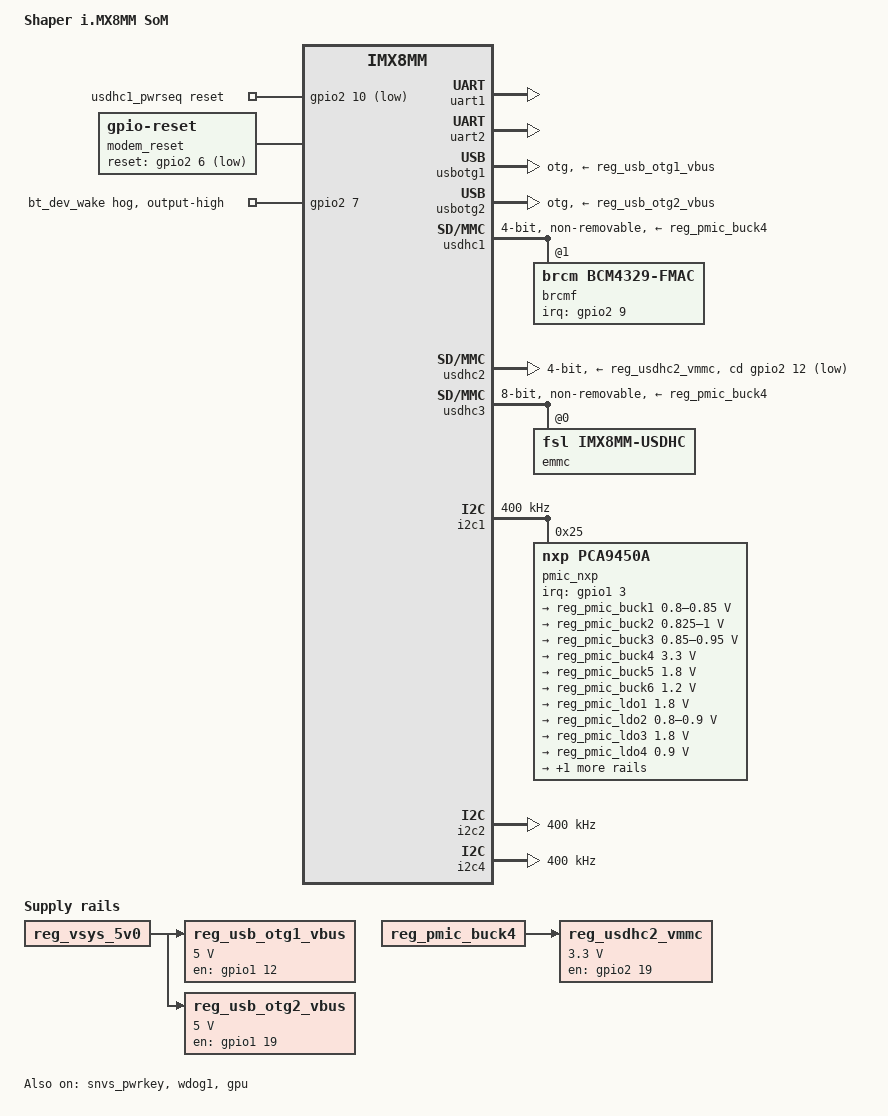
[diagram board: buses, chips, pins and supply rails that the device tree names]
// SPDX-License-Identifier: (GPL-2.0+ OR MIT)
/*
 * Copyright 2022 Shaper Tools, Inc.
 * - Jeremy Blum <jeremy@shapertools.com>
 * - Donald Carr <donald@shapertools.com>
 * - Stephen Street <stephen@shapertools.com>
 * Copyright 2019 NXP
 */

/dts-v1/;

#include <dt-bindings/usb/pd.h>
#include "imx8mm.dtsi"

/ {
	model = "Shaper i.MX8MM SoM";
	compatible = "fsl,imx8mm", "shaper,imx8mm-som";

	reserved-memory {
		#address-cells = <2>;
		#size-cells = <2>;
		ranges;

		m4_reserved: m4@0x4efe0000 {
			no-map;
			reg = <0 0x4efe0000 0 0x300000>;
		};

		vdev0vring0: vdev0vring0@b8000000 {
			compatible = "shared-dma-pool";
			reg = <0 0xb8000000 0 0x8000>;
			no-map;
		};

		vdev0vring1: vdev0vring1@b8008000 {
			compatible = "shared-dma-pool";
			reg = <0 0xb8008000 0 0x8000>;
			no-map;
		};

		vdev0buffer: vdev0buffer@b8400000 {
			compatible = "shared-dma-pool";
			reg = <0 0xb8400000 0 0x100000>;
			no-map;
		};

		m4_spaces: m4_spaces@b8500000 {
			compatible = "shared-dma-pool";
			reg = < 0 0xb8500000 0 0x40000 >;
			no-map;
		};
	};

	chosen {
		stdout-path = &uart2;
	};

	shaper_m4_rproc: shaper-m4-rproc {
		compatible = "shapertools,shaper-mcu-rproc";
		rsrc-table = <
			0x1         /* Version */
			0x1         /* Number of resources */
			0x0 0x0     /* Reserved */
			0x14        /* offset to resources */
			3           /* Resource Type VDEV*/

			/* fw_rsc_vdev */
			7           /* Virtualio id */
			0           /* Notify Id */
			1           /* dfeatures NS Support */
			0           /* gfeatures */
			0           /* config_len */
			0x0200      /* u8, status, number of vrings, reserved[2] */

			/* fw_rsc_vdev_vring 0 */
			0xb8000000U /* da */
			4096        /* align */
			256         /* num */
			0           /* notifyid */
			0           /* reserved */

			/* fw_rsc_vdev_vring 1 */
			0xb8008000U /* da */
			4096        /* align */
			256         /* num */
			1           /* notifyid */
			0           /* reserved */
		>;
		clocks = <&clk IMX8MM_CLK_M4_DIV>, <&clk IMX8MM_CLK_SEMA1_ROOT>;
		clock-names = "m4_div", "sema1";
		mbox-names = "tx", "rx", "txdb", "rxdb";
		mboxes = <&mu 0 1 &mu 1 1 &mu 2 1 &mu 3 1>;
		memory-region = <&vdev0vring0>, <&vdev0vring1>, <&vdev0buffer>;
		firmware-name = "mcu-firmware.elf";
		syscon = <&src>;
	};

	shaper-m4-spaces {
		compatible = "shapertools,shaper-mcu-space";
		mbox-names = "tx", "rx", "txdb", "rxdb";
		mboxes = <&mu 0 2 &mu 1 2 &mu 2 2 &mu 3 2>;
		space-memory = <&m4_spaces>;
		rproc = <&shaper_m4_rproc>;
	};

	shaper-m4-log {
		compatible = "shapertools,shaper-mcu-log";
	};

	shaper-m4-capture {
		compatible = "shapertools,shaper-rpmsg-mcu-capture";
	};
	
	/* USB OTG supply is derived from the 5V input rail */
	reg_usb_otg1_vbus: regulator-usb-otg1 {
		regulator-name = "VSYS_5V0-USB1-VBUS";
		compatible = "regulator-fixed";
		pinctrl-names = "default";
		enable-active-high;
		pinctrl-0 = <&pinctrl_reg_usb1_en>;
		gpio = <&gpio1 12 GPIO_ACTIVE_HIGH>;  /* Blade 1 USB1_OTG_PWR */
		regulator-max-microvolt = <5000000>;
		regulator-min-microvolt = <5000000>;
		vin-supply = <&reg_vsys_5v0>;
	};

	/* USB OTG supply is derived from the 5V input rail */
	reg_usb_otg2_vbus: regulator-usb-otg2 {
		regulator-name = "VSYS_5V0-USB2_VBUS";
		compatible = "regulator-fixed";
		pinctrl-names = "default";
		enable-active-high;
		pinctrl-0 = <&pinctrl_reg_usb2_en>;
		gpio = <&gpio1 19 GPIO_ACTIVE_HIGH>;  /* Blade 1 GPIO1_IO19 */
		regulator-max-microvolt = <5000000>;
		regulator-min-microvolt = <5000000>;
		vin-supply = <&reg_vsys_5v0>;
	};

	/* SD Card supply is regulated from System 3.3V Rail */
	reg_usdhc2_vmmc: regulator-usdhc2 {
		regulator-name = "VDD_3V3-SD"; 
		compatible = "regulator-fixed";
		pinctrl-names = "default";
		enable-active-high;
		pinctrl-0 = <&pinctrl_reg_usdhc2_vmmc>;
		gpio = <&gpio2 19 GPIO_ACTIVE_HIGH>;  /* Blade 1 nSDHC2_RST */
		regulator-min-microvolt = <3300000>;
		regulator-max-microvolt = <3300000>;
		off-on-delay-us = <20000>;
		vin-supply = <&reg_pmic_buck4>;
	};

	/* add construct for "fmac" to control WL_REG_ON signal */
	usdhc1_pwrseq: usdhc1_pwrseq {
		compatible = "mmc-pwrseq-simple";
		reset-gpios = <&gpio2 10 GPIO_ACTIVE_LOW>;  /* Blade 1 WL_REG_ON */
		pinctrl-names = "default";
		pinctrl-0 = <&pinctrl_wlan_reg_on>;
		status = "okay";
	};

	/* Keep BT_REG_ON under kernel reset control for the userspace hciattach flow. */
	modem_reset: modem-reset {
		compatible = "gpio-reset";
		reset-gpios = <&gpio2 6 GPIO_ACTIVE_LOW>; /* Blade 1 BT_REG_ON */
		initially-in-reset;
		reset-delay-us = <2000>;
		reset-post-delay-ms = <100>;
		#reset-cells = <0>;
	};

};

&A53_0 {
	cpu-supply = <&reg_pmic_buck2>;
};

&A53_1 {
	cpu-supply = <&reg_pmic_buck2>;
};

&A53_2 {
	cpu-supply = <&reg_pmic_buck2>;
};

&A53_3 {
	cpu-supply = <&reg_pmic_buck2>;
};

&fec1 {
	status = "disabled";
};

&pcie0{
	status = "disabled";
};

&sai3 {
	status = "disabled";
};

&sai2 {
	status = "disabled";
};

&sai1 {
	status = "disabled";
};

&sai5 {
	status = "disabled";
};

&sai6 {
	status = "disabled";
};

&spdif1 {
	status = "disabled";
};

&micfil {
	status = "disabled";
};

&snvs_pwrkey {
	status = "okay";
};

&uart1 { /* BT */
	pinctrl-names = "default";
	pinctrl-0 = <&pinctrl_uart1>, <&pinctrl_bt_gpios>;
	assigned-clocks = <&clk IMX8MM_CLK_UART1>;
	assigned-clock-parents = <&clk IMX8MM_SYS_PLL1_80M>;
	fsl,uart-has-rtscts;
	resets = <&modem_reset>;
	status = "okay";
};

&uart2 { /* console */
	pinctrl-names = "default";
	pinctrl-0 = <&pinctrl_uart2>;
	status = "okay";
};

&usbotg1 {
	pinctrl-names = "default";
	pinctrl-0 = <&pinctrl_usbotg1>;
	over-current-active-low;
	vbus-supply = <&reg_usb_otg1_vbus>;
	dr_mode = "otg";
	hnp-disable;
	srp-disable;
	adp-disable;
	picophy,pre-emp-curr-control = <3>;
	picophy,dc-vol-level-adjust = <7>;
	status = "okay";
};

&usbotg2 {
	disable-over-current;  /* Not using OC detection right now as its connected to a GPIO instead of hardware OC pin */
	over-current-active-low;  /* We set the polarity anyways to eliminate the kernel warning */
	vbus-supply = <&reg_usb_otg2_vbus>;
	dr_mode = "otg";  /* Note that resistor ties ID pin to GND on the Davis MLB, so we are actually always in host mode for USB2 */
	hnp-disable;
	srp-disable;
	adp-disable;
	picophy,pre-emp-curr-control = <3>;
	picophy,dc-vol-level-adjust = <7>;
	status = "okay";
};

/* Wi-Fi & Bluetooth Module on Blade 1 SOM */
&usdhc1 {
	#address-cells = <1>;
	#size-cells = <0>;
	pinctrl-names = "default", "state_100mhz", "state_200mhz";
	pinctrl-0 = <&pinctrl_usdhc1>, <&pinctrl_wlan>;
	pinctrl-1 = <&pinctrl_usdhc1_100mhz>, <&pinctrl_wlan>;
	pinctrl-2 = <&pinctrl_usdhc1_200mhz>, <&pinctrl_wlan>;
	bus-width = <4>;

	vmmc-supply = <&reg_pmic_buck4>;  /* This is the power supply for the Wireless Module:  BUCK4 (VDD_3V3) */
	vqmmc-supply = <&reg_pmic_buck5>;  /* This is the IO supply for the SDHC1 interface, which is in the NVCC_SD1 power domain. This domain is powered by BUCK5 (VDD_1V8) from the PMIC */
	voltage-ranges = <1800 1800>;  /* The IO supply operates at 1.8V */

	cap-power-off-card;
	non-removable;
	pm-ignore-notify;
	keep-power-in-suspend;

	mmc-pwrseq = <&usdhc1_pwrseq>;
	status = "okay";

	brcmf: bcrmf@1 {
		reg = <1>;
		compatible = "brcm,bcm4329-fmac";
		interrupt-parent = <&gpio2>;
		/* When using a direct connection (as we are) this WAKE is LEVEL_HIGH */
		/* https://community.murata.com/s/question/0D55F00009ZGrucSAD/oob-interrupts-on-1mw */
		interrupts = <9 IRQ_TYPE_LEVEL_HIGH>; /* WL_HOST_WAKE */
		interrupt-names = "host-wake";
	};
};

/* SDHC Card Socket on Carrier Board */
&usdhc2 {
	pinctrl-names = "default", "state_100mhz", "state_200mhz";
	pinctrl-0 = <&pinctrl_usdhc2>, <&pinctrl_usdhc2_gpio>;
	pinctrl-1 = <&pinctrl_usdhc2_100mhz>, <&pinctrl_usdhc2_gpio>;
	pinctrl-2 = <&pinctrl_usdhc2_200mhz>, <&pinctrl_usdhc2_gpio>;
	bus-width = <4>;

	vmmc-supply = <&reg_usdhc2_vmmc>;  /* Dedicated regulator is specified for carrier board SD card, because a load switch controlled by SD reset shall be used to toggle power to the SD Card */
	vqmmc-supply = <&reg_pmic_ldo5>;  /* This is the IO supply for the SDHC2 interface, which is in the NVCC_SD2 power domain. This domain is powered by LDO5 (NVCC_SD2) from the PMIC */
	voltage-ranges = <1800 1800 3300 3300>;  /* The IO supply can switch between 1.8V and 3.3V depending on the operating speed of the card */

	status = "okay";
	cd-gpios = <&gpio2 12 GPIO_ACTIVE_LOW>;
	disable-wp;
};

/* eMMC on Blade 1 SOM */
&usdhc3 {
	pinctrl-names = "default", "state_100mhz", "state_200mhz";
	pinctrl-0 = <&pinctrl_usdhc3>;
	pinctrl-1 = <&pinctrl_usdhc3_100mhz>;
	pinctrl-2 = <&pinctrl_usdhc3_200mhz>;
	bus-width = <8>;

	vmmc-supply = <&reg_pmic_buck4>;  /* This is the power supply for the eMMC:  BUCK4 (VDD_3V3) */
	vqmmc-supply = <&reg_pmic_buck5>;  /* This is the IO supply for the SDHC3 interface, which is in the NVCC_NAND power domain. This domain is powered by BUCK5 (VDD_1V8) from the PMIC */
	voltage-ranges = <1800 1800>;  /* The IO supply operates at 1.8V */

	non-removable;
	status = "okay";

	emmc: emmc@0 {
		compatible = "fsl,imx8mm-usdhc";
	};
};

&wdog1 {
	pinctrl-names = "default";
	pinctrl-0 = <&pinctrl_wdog>;
	fsl,ext-reset-output;
	status = "okay";
};

&i2c1 {
	clock-frequency = <400000>;
	pinctrl-names = "default";
	pinctrl-0 = <&pinctrl_i2c1>;
	status = "okay";

	eeprom: eeprom@50 {
		compatible = "atmel,24c64"; /* 24AA64 */
		reg = <0x50>;
		pagesize = <32>;
		status = "disabled"; /* We do not populate the EEPROM on the Blade 1 SOM */
	};

	pmic_nxp: pca9450@25 {
		compatible = "nxp,pca9450a";
		reg = <0x25>;
		pinctrl-0 = <&pinctrl_pmic>;
		pinctrl-names = "default";
		interrupt-parent = <&gpio1>;
		interrupts = <3 IRQ_TYPE_LEVEL_LOW>;

		regulators {

			/* PMIC BUCK1 (VDD_SOCx, VDD_ARM_PLL_0P8, VDD_ANA_0P8x)
			 * PMIC BUCK1 Supports DVS, +/-2% Accurate, 12.5mV Steps
			 * PMIC BUCK1 is set to 0.850V by SPL
			 * PMIC BUCK1 min output voltage is 0.600V
			 * PMIC BUCK1 max output voltage is 2.1875V
			 * PMIC BUCK1 powers the following rails on the SoC:
			 *   -> VDD_SOCx without PCIE (0.780V-0.900V) -> Typ=0.820V -> Op=0.800V
			 *   -  VDD_SOCx with PCIE    (0.805V-0.900V) -> Typ=0.850V
			 *   -> VDD_ARM_PLL_0P8       (0.780V-0.900V) -> Typ=0.820V -> Op=0.800V
			 *   -> VDD_ANA_0P8x          (0.780V-0.900V) -> Typ=0.820V -> Op=0.800V
			 * For minimum heat, we set to 800mV (784mV min with 2% accuracy)
			 */
			reg_pmic_buck1: BUCK1 {
				regulator-name = "BUCK1";
				nxp,dvs-run-voltage = <800000>;
				nxp,dvs-standby-voltage = <800000>;
				regulator-max-microvolt = <850000>;
				regulator-min-microvolt = <800000>;
				regulator-boot-on;
				regulator-always-on;
				regulator-ramp-delay = <3125>;
			};

			/* PMIC BUCK2 (VDD_ARMx)
			 * PMIC BUCK2 Supports DVS, +/-2% Accurate, 12.5mV Steps
			 * PMIC BUCK2 is set to 1.000V by SPL
			 * PMIC BUCK2 min output voltage is 0.600V
			 * PMIC BUCK2 max output voltage is 2.1875V
			 * PMIC BUCK2 powers the following rails on the SoC:
			 *   -> VDD_ARMx 1.0GHz (0.805V-0.950V) -> Typ=0.850V -> Op=0.825V  (Datasheet Spec)
			 *   -> VDD_ARMx 1.2GHz (0.805V-0.950V) -> Typ=0.850V -> Op=0.825V  (Datasheet Spec)
			 *   -> VDD_ARMx 1.4GHz (0.850V-0.950V) -> Typ=0.900V -> Op=0.875V  (Interpolated Value Validated by Shaper and NXP FAE)
			 *   -> VDD_ARMx 1.5GHz (0.850V-0.950V) -> Typ=0.900V -> Op=0.875V  (Interpolated Value Validated by Shaper and NXP FAE)
			 *   -> VDD_ARMx 1.6GHz (0.900V-1.000V) -> Typ=0.950V -> Op=0.925V  (Datasheet Spec)
			 *   -> VDD_ARMx 1.8GHz (0.950V-1.050V) -> Typ=1.000V -> Op=0.975V  (Datasheet Spec)
			 * For minimum heat, we set to 825mV/875mV/925mV/975mV (808.5mV/857.5mV/906.5mV/955.5mV min with 2% accuracy)
			 */
			reg_pmic_buck2: BUCK2 {
				regulator-name = "BUCK2";
				nxp,dvs-run-voltage = <975000>;
				nxp,dvs-standby-voltage = <825000>;
				regulator-max-microvolt = <1000000>;
				regulator-min-microvolt = <825000>;
				regulator-boot-on;
				regulator-always-on;
				regulator-ramp-delay = <3125>;
			};

			/* PMIC BUCK3 (VDD_VPUx, VDD_GPUx, VDD_DRAM, VDD_DRAMx_PLL_0P8)
			 * PMIC BUCK3 Supports DVS, +/-2% Accurate, 12.5mV Steps
			 * PMIC BUCK3 is set to 0.950V by SPL
			 * PMIC BUCK3 min output voltage is 0.600V
			 * PMIC BUCK3 max output voltage is 2.1875V
			 * PMIC BUCK3 powers the following rails on the SoC:
			 *   -  VDD_VPUx 450/450/450MHz         (0.805V-0.900V) -> Typ=0.850V
			 *   -> VDD_VPUx 600/650/650MHz         (0.855V-0.950V) -> Typ=0.900V -> Op=0.875V
			 *   -  VDD_VPUx 700/750/750MHz         (0.900V-1.000V) -> Typ=0.950V
			 *   -  VDD_GPUx Nominal Mode/800MHz    (0.805V-0.900V) -> Typ=0.850V
			 *   -> VDD_GPUx Overdrive Mode/1000MHz (0.855V-1.000V) -> Typ=0.900V -> Op=0.875V
			 *   -  VDD_DRAM Up to 1.0GHZ DDR Clock (0.805V-0.900V) -> Typ=0.850V
			 *   -> VDD_DRAM Up to 1.2GHZ DDR Clock (0.855V-0.950V) -> Typ=0.900V -> Op=0.875V
			 *   -  VDD_DRAM Up to 1.5GHZ DDR Clock (0.900V-1.000V) -> Typ=0.950V
			 *   -> VDD_DRAMx_PLL_0P8               (0.805V-1.000V) -> Typ=0.850V -> Op=0.875V
			 * NOTE: Explicitly setting the DVS values appears to be necessary.
			 *       Otherwise the BUCK resets to 0.850V at Kernel init
			 * For minimum heat, we set to 875mV (857.5mV min with 2% accuracy)
			 */
			reg_pmic_buck3: BUCK3 {
				regulator-name = "BUCK3";
				nxp,dvs-run-voltage = <875000>;
				nxp,dvs-standby-voltage = <875000>;
				regulator-max-microvolt = <950000>;
				regulator-min-microvolt = <850000>;
				regulator-boot-on;
				regulator-always-on;
				regulator-ramp-delay = <3125>;
			};

			/* PMIC BUCK4 (VDD_3V3)
			 * PMIC BUCK4 is +/-2% Accurate, 25mV Steps
			 * PMIC BUCK4 is defaulted to 3.300V at reset
			 * PMIC BUCK4 min output voltage is 0.600V
			 * PMIC BUCK4 max output voltage is 3.400V
			 * PMIC BUCK4 powers the following rails on the SoC:
			 *   -> NVCC_SAI1  (3.000V-3.6000V) -> Typ=3.300V
			 *   -> NVCC_SAI2  (3.000V-3.6000V) -> Typ=3.300V
			 *   -> NVCC_SAI3  (3.000V-3.6000V) -> Typ=3.300V
			 *   -> NVCC_SAI5  (3.000V-3.6000V) -> Typ=3.300V
			 *   -> NVCC_GPIO1 (3.000V-3.6000V) -> Typ=3.300V
			 *   -> NVCC_I2C   (3.000V-3.6000V) -> Typ=3.300V
			 *   -> NVCC_UART  (3.000V-3.6000V) -> Typ=3.300V
			 *   -> NVCC_ECSPI (3.000V-3.6000V) -> Typ=3.300V
			 *   -> NVCC_ENET  (3.000V-3.6000V) -> Typ=3.300V
			 * PMIC BUCK4 also powers:
			 *   -> eMMC
			 *   -> Wi-Fi
			 *   -> Carrier Board 3.3V Rail
			 */
			reg_pmic_buck4: BUCK4 {
				regulator-name = "BUCK4";
				regulator-min-microvolt = <3300000>;
				regulator-max-microvolt = <3300000>;
				regulator-boot-on;
				regulator-always-on;
			};

			/* PMIC BUCK5 (VDD_1V8)
			 * PMIC BUCK5 is +/-2% Accurate, 25mV Steps
			 * PMIC BUCK5 is defaulted to 1.800V at reset
			 * PMIC BUCK5 min output voltage is 0.600V
			 * PMIC BUCK5 max output voltage is 3.400V
			 * PMIC BUCK5 powers the following rails on the SoC:
			 *   -> NVCC_JTAG (1.650V-1.950V) -> Typ=1.800V
			 *   -> NVCC_NAND (1.650V-1.950V) -> Typ=1.800V
			 *   -> NVCC_SD1  (1.650V-1.950V) -> Typ=1.800V
			 *   -> NVCC_CLK  (1.650V-1.950V) -> Typ=1.800V
			 *   -> PVCCx_1P8 (1.650V-1.950V) -> Typ=1.800V
			 * PMIC BUCK5 also powers:
			 *   -> eMMC
			 *   -> Carrier Board 1.8V Rail
			 */
			reg_pmic_buck5: BUCK5 {
				regulator-name = "BUCK5";
				regulator-min-microvolt = <1800000>;
				regulator-max-microvolt = <1800000>;
				regulator-boot-on;
				regulator-always-on;
			};

			/* PMIC BUCK6 (NVCC_DRAM)
			 * PMIC BUCK4 is +/-2% Accurate, 25mV Steps
			 * PMIC BUCK6 is defaulted to 1.100V at reset
			 * PMIC BUCK6 is then set to 1.200V by SPL, as that is the required voltage for DDR4 (vs. LPDDR4)
			 * PMIC BUCK6 min output voltage is 0.600V
			 * PMIC BUCK6 max output voltage is 3.400V
			 * PMIC BUCK6 powers the following rails on the SoC:
			 *   -> NVCC_DRAM - DDR4 (1.14V-1.26V) -> Typ=1.200V
			 * PMIC BUCK6 also powers:
			 *   -> DDR4 memory chips
			 */
			reg_pmic_buck6: BUCK6 {
				regulator-name = "BUCK6";
				regulator-min-microvolt = <1200000>;
				regulator-max-microvolt = <1200000>;
				regulator-boot-on;
				regulator-always-on;
			};

			/* PMIC LDO1 (NVCC_SNVS_1P8)
			 * PMIC LDO1 is defaulted to 1.800V at reset
			 * PMIC LDO1 min output voltage is 1.600V
			 * PMIC LDO1 max output voltage is 3.300V
			 * PMIC LDO1 powers the following rails on the SoC:
			 *   -> NVCC_SNVS_1P8 (1.620V-1.980V) -> Typ=1.800V
			 */
			reg_pmic_ldo1: LDO1 {
				regulator-name = "LDO1";
				regulator-min-microvolt = <1800000>;
				regulator-max-microvolt = <1800000>;
				regulator-boot-on;
				regulator-always-on;
			};

			/* PMIC LDO2 (VDD_SNVS_0P8)
			 * PMIC LDO2 is defaulted to 0.850V at reset
			 * PMIC LDO2 min output voltage is 0.800V
			 * PMIC LDO2 max output voltage is 1.150V
			 * PMIC LDO2 powers the following rails on the SoC:
			 *   -> VDD_SNVS_0P8 (0.760V-0.900V) -> Typ=0.800V
			 */
			reg_pmic_ldo2: LDO2 {
				regulator-name = "LDO2";
				regulator-min-microvolt = <800000>;
				regulator-max-microvolt = <900000>;
				regulator-boot-on;
				regulator-always-on;
			};

			/* PMIC LDO3 (VDD_ANA_1P8)
			 * PMIC LDO3 is defaulted to 1.800V at reset
			 * PMIC LDO3 min output voltage is 0.800V
			 * PMIC LDO3 max output voltage is 3.300V
			 * PMIC LDO3 powers the following rails on the SoC:
			 *   -> VDD_DRAM_PLL_1P8 (1.710V-1.890V) -> Typ=1.800V
			 *   -> VDD_ARM_PLL_1P8  (1.710V-1.890V) -> Typ=1.800V
			 *   -> VDD_ANAx_1P8     (1.710V-1.890V) -> Typ=1.800V
			 *   -> VDD_USB_1P8      (1.710V-1.890V) -> Typ=1.800V
			 *   -> VDD_MIPI_1P8     (1.710V-1.890V) -> Typ=1.800V
			 */
			reg_pmic_ldo3: LDO3 {
				regulator-name = "LDO3";
				regulator-min-microvolt = <1800000>;
				regulator-max-microvolt = <1800000>;
				regulator-boot-on;
				regulator-always-on;
			};

			/* PMIC LDO4 (VDD_MIPI_0P9)
			 * PMIC LDO4 is defaulted to 0.900V at reset
			 * PMIC LDO4 min output voltage is 0.800V
			 * PMIC LDO4 max output voltage is 3.300V
			 * PMIC LDO4 powers the following rails on the SoC:
			 *   -> VDD_MIPI_0P9 (0.855-1.000V) -> Typ=0.900V
			 */
			reg_pmic_ldo4: LDO4 {
				regulator-name = "LDO4";
				regulator-min-microvolt = <900000>;
				regulator-max-microvolt = <900000>;
				regulator-boot-on;
				regulator-always-on;
			};

			/* PMIC LDO5 (NVCC_SD2)
			 * PMIC LDO5 is defaulted to 3.300V at reset
			 * PMIC LDO5 can switch between 1.8V and 3.3V depending on SD card mode
			 * PMIC LDO5 turns off automatically when no SD card is in use
			 * PMIC LDO5 min output voltage is 1.800V
			 * PMIC LDO5 max output voltage is 3.300V
			 * PMIC LDO5 powers the following rails on the SoC:
			 *   -> NVCC_SD2 (1.650-1.950V) -> Typ=1.800V (1.8V Operating Mode)
			 *   -> NVCC_SD2 (3.000-3.600V) -> Typ=3.300V (3.3V Operating Mode)
			 */
			reg_pmic_ldo5: LDO5 {
				regulator-name = "LDO5";
				regulator-min-microvolt = <1800000>;
				regulator-max-microvolt = <3300000>;
			};
		};
	};
};

&i2c2 {
	clock-frequency = <400000>;
	pinctrl-names = "default";
	pinctrl-0 = <&pinctrl_i2c2>;
	status = "okay";
};

&i2c4 {
	clock-frequency = <400000>;
	pinctrl-names = "default";
	pinctrl-0 = <&pinctrl_i2c4>;
	status = "okay";
};

&gpio1 {
	gpio-line-names = "MCU_CLKOUT_32K",		/* 00 */
			  "SODIMM_258",			/* 01 */
			  "nWDOG_RST",			/* 02 */
			  "nPIC_INT",			/* 03 */
			  "SDHC2_VSEL",			/* 04 */
			  "SODIMM_187",			/* 05 */
			  "SODIMM_177",			/* 06 */
			  "SODIMM_189",			/* 07 */
			  "SODIMM_136",			/* 08 */
			  "SODIMM_42",			/* 09 */
			  "SODIMM_40",			/* 10 */
			  "SODIMM_53",			/* 11 */
			  "SODIMM_204",			/* 12 */
			  "SODIMM_206",			/* 13 */
			  "SODIMM_63",			/* 14 */
			  "SODIMM_111",			/* 15 */
			  "SODIMM_209",			/* 16 */
			  "SODIMM_207",			/* 17 */
			  "SODIMM_106",			/* 18 */
			  "SODIMM_104",			/* 19 */
			  "SODIMM_216",			/* 20 */
			  "SODIMM_218",			/* 21 */
			  "SODIMM_39",			/* 22 */
			  "SODIMM_201",			/* 23 */
			  "SODIMM_44",			/* 24 */
			  "SODIMM_80",			/* 25 */
			  "SODIMM_78",			/* 26 */
			  "SODIMM_37",			/* 27 */
			  "SODIMM_160",			/* 28 */
			  "SODIMM_203",			/* 29 */
			  "DNE",			/* 30 */
			  "DNE";			/* 31 */
};

&gpio2 {
	gpio-line-names = "SDHC1_CLK",			/* 00 */
			  "SDHC1_CMD",			/* 01 */
			  "SDHC1_DATA0",		/* 02 */
			  "SDHC1_DATA1",		/* 03 */
			  "SDHC1_DATA2",		/* 04 */
			  "SDHC1_DATA3",		/* 05 */
			  "BT_REG_ON",			/* 06 */
			  "BT_WAKE_DEV",		/* 07 */
			  "BT_WAKE_HOST",		/* 08 */
			  "WL_WAKE_HOST",		/* 09 */
			  "WL_REG_ON",			/* 10 */
			  "SODIMM_149",			/* 11 */
			  "SODIMM_228",			/* 12 */
			  "SODIMM_221",			/* 13 */
			  "SODIMM_222",			/* 14 */
			  "SODIMM_223",			/* 15 */
			  "SODIMM_225",			/* 16 */
			  "SODIMM_226",			/* 17 */
			  "SODIMM_224",			/* 18 */
			  "SODIMM_227",			/* 19 */
			  "SODIMM_219",			/* 20 */
			  "DNE",			/* 21 */
			  "DNE",			/* 22 */
			  "DNE",			/* 23 */
			  "DNE",			/* 24 */
			  "DNE",			/* 25 */
			  "DNE",			/* 26 */
			  "DNE",			/* 27 */
			  "DNE",			/* 28 */
			  "DNE",			/* 29 */
			  "DNE",			/* 30 */
			  "DNE";			/* 31 */

	bt_dev_wake_gpio {
		/*
		 * BT_DEV_WAKE defaults high so userspace "hciattach ... nosleep" starts
		 * from a deterministic awake state without sysfs/gpio jiggling.
		 */
		gpio-hog;
		gpios = <7 GPIO_ACTIVE_HIGH>;
		output-high;
		line-name = "bt_dev_wake";
	};

};

&gpio3 {
	gpio-line-names = "RTC_INT_N",			/* 00 */
			  "SODIMM_147",			/* 01 */
			  "SDHC3_STROBE",		/* 02 */
			  "SDHC3_DATA5",		/* 03 */
			  "SDHC3_DATA6",		/* 04 */
			  "SDHC3_DATA7",		/* 05 */
			  "SODIMM_158",			/* 06 */
			  "SODIMM_199",			/* 07 */
			  "SODIMM_97",			/* 08 */
			  "SODIMM_99",			/* 09 */
			  "SDHC3_DATA0",		/* 10 */
			  "SDHC3_DATA1",		/* 11 */
			  "SDHC3_DATA2",		/* 12 */
			  "SDHC3_DATA3",		/* 13 */
			  "SODIMM_107",			/* 14 */
			  "SDHC3_DATA4",		/* 15 */
			  "nSDHC3_RST",			/* 16 */
			  "SDHC3_CLK",			/* 17 */
			  "SDH3_CMD",			/* 18 */
			  "SODIMM_100",			/* 19 */
			  "SODIMM_90",			/* 20 */
			  "SODIMM_88",			/* 21 */
			  "SODIMM_94",			/* 22 */
			  "SODIMM_98",			/* 23 */
			  "SODIMM_96",			/* 24 */
			  "SODIMM_92",			/* 25 */
			  "DNE",			/* 26 */
			  "DNE",			/* 27 */
			  "DNE",			/* 28 */
			  "DNE",			/* 29 */
			  "DNE",			/* 30 */
			  "DNE";			/* 31 */
};

&gpio4 {
	gpio-line-names = "SODIMM_168",			/* 00 */
			  "SODIMM_202",			/* 01 */
			  "SODIMM_167",			/* 02 */
			  "SODIMM_169",			/* 03 */
			  "SODIMM_57",			/* 04 */
			  "SODIMM_59",			/* 05 */
			  "SODIMM_213",			/* 06 */
			  "SODIMM_55",			/* 07 */
			  "SODIMM_193",			/* 08 */
			  "SODIMM_195",			/* 09 */
			  "SODIMM_210",			/* 10 */
			  "SODIMM_212",			/* 11 */
			  "SODIMM_138",			/* 12 */
			  "SODIMM_170",			/* 13 */
			  "SODIMM_172",			/* 14 */
			  "SODIMM_174",			/* 15 */
			  "SODIMM_43",			/* 16 */
			  "SODIMM_41",			/* 17 */
			  "SODIMM_140",			/* 18 */
			  "SODIMM_142",			/* 19 */
			  "SODIMM_200",			/* 20 */
			  "UART1_MCU_TXD_SODIMM_30",	/* 21 */
			  "UART1_MCU_RXD_SODIMM_32",	/* 22 */
			  "nUART1_MCU_RTS_SODIMM_36",	/* 23 */
			  "nUART1_MCU_CTS_SODIMM_34",	/* 24 */
			  "SODIMM_84",			/* 25 */
			  "SODIMM_82",			/* 26 */
			  "SODIMM_175",			/* 27 */
			  "SODIMM_154",			/* 28 */
			  "SODIMM_215",			/* 29 */
			  "SODIMM_47",			/* 30 */
			  "SODIMM_183";			/* 31 */
};

/* TODO: We could define GPIO5 names too, but we know that that GPIO5 is fully owned by the M4 in our application, so we don't bother for now. */ 

&iomuxc {
	pinctrl-names = "default";

	pinctrl_usbotg1: usbotg1grp {
		fsl,pins = <
			MX8MM_IOMUXC_GPIO1_IO13_USB1_OTG_OC		0x16
		>;
	};

	pinctrl_reg_usb1_en: regusb1engrp {
		fsl,pins = <
			MX8MM_IOMUXC_GPIO1_IO12_GPIO1_IO12		0x16
		>;
	};

	pinctrl_reg_usb2_en: regusb2engrp {
		fsl,pins = <
			MX8MM_IOMUXC_ENET_TD2_GPIO1_IO19		0x16
		>;
	};

	pinctrl_i2c1: i2c1grp {
		fsl,pins = <
			MX8MM_IOMUXC_I2C1_SCL_I2C1_SCL			0x400000c3
			MX8MM_IOMUXC_I2C1_SDA_I2C1_SDA			0x400000c3
		>;
	};

	pinctrl_rtc_isl1208: rtcisl1208grp {
		fsl,pins = <
			MX8MM_IOMUXC_NAND_ALE_GPIO3_IO0			0x41
		>;
	};

	pinctrl_i2c2: i2c2grp {
		fsl,pins = <
			MX8MM_IOMUXC_I2C2_SCL_I2C2_SCL			0x400000c3
			MX8MM_IOMUXC_I2C2_SDA_I2C2_SDA			0x400000c3
		>;
	};

	pinctrl_i2c3: i2c3grp {
		fsl,pins = <
			MX8MM_IOMUXC_I2C3_SCL_I2C3_SCL			0x400000c3
			MX8MM_IOMUXC_I2C3_SDA_I2C3_SDA			0x400000c3
		>;
	};

	pinctrl_i2c4: i2c4grp {
		fsl,pins = <
			MX8MM_IOMUXC_I2C4_SCL_I2C4_SCL			0x400000c3
			MX8MM_IOMUXC_I2C4_SDA_I2C4_SDA			0x400000c3
		>;
	};

	pinctrl_pmic: pmicirq {
		fsl,pins = <
			MX8MM_IOMUXC_GPIO1_IO03_GPIO1_IO3		0x41
		>;
	};

	pinctrl_reg_usdhc2_vmmc: regusdhc2vmmc {
		fsl,pins = <
			MX8MM_IOMUXC_SD2_RESET_B_GPIO2_IO19		0x41
		>;
	};

	pinctrl_uart1: uart1grp {
		fsl,pins = <
			MX8MM_IOMUXC_SAI2_RXC_UART1_DCE_RX		0x16
			MX8MM_IOMUXC_SAI2_RXFS_UART1_DCE_TX		0x16
			MX8MM_IOMUXC_SAI2_TXFS_UART1_DCE_CTS_B		0x1816
			MX8MM_IOMUXC_SAI2_RXD0_UART1_DCE_RTS_B		0x16
		>;
	};

	pinctrl_uart2: uart2grp {
		fsl,pins = <
			MX8MM_IOMUXC_SAI3_TXFS_UART2_DCE_RX		0x16
			MX8MM_IOMUXC_UART2_TXD_UART2_DCE_TX		0x16
		>;
	};

	pinctrl_wlan: wlangrp {
		fsl,pins = <
			/* SD1 Block is powered by 1.8V Rail, so internal pullups are OK */
			MX8MM_IOMUXC_SD1_DATA7_GPIO2_IO9		0x111  /* WL_HOST_WAKE - Active High Level Interrupt, so we pull it down */
		>;
	};

	pinctrl_wlan_reg_on: wlanregongrp {
		fsl,pins = <
			/* SD1 Block is powered by 1.8V Rail, so internal pullups are OK */
			/* WL_REG_ON is active high; 1MW has ~200K internal pulldown */
			MX8MM_IOMUXC_SD1_RESET_B_GPIO2_IO10		0x1c4  /* WL_REG_ON */
		>;
	};

	pinctrl_bt_gpios: btgpiosgrp {
		fsl,pins = <
			MX8MM_IOMUXC_GPIO1_IO00_ANAMIX_REF_CLK_32K	0x000  /* MCU_CLKOUT_32K */
			/* SD1 Block is powered by 1.8V Rail, so internal pullups are OK */
			/* BT_REG_ON is active high; 1MW has ~200K internal pulldown */
			MX8MM_IOMUXC_SD1_DATA4_GPIO2_IO6		0x1c4  /* BT_REG_ON */
			MX8MM_IOMUXC_SD1_DATA5_GPIO2_IO7		0x16   /* BT_DEV_WAKE (driven high by gpio-hog) */
			MX8MM_IOMUXC_SD1_DATA6_GPIO2_IO8		0x111  /* BT_HOST_WAKE - active high, pulled down */
		>;
	};

	pinctrl_usdhc2_gpio: usdhc2grpgpio {
		fsl,pins = <
			MX8MM_IOMUXC_SD2_CD_B_GPIO2_IO12		0x41
		>;
	};

	pinctrl_usdhc1: usdhc1grp {
		fsl,pins = <
			MX8MM_IOMUXC_SD1_CLK_USDHC1_CLK			0x190
			MX8MM_IOMUXC_SD1_CMD_USDHC1_CMD			0x1d0
			MX8MM_IOMUXC_SD1_DATA0_USDHC1_DATA0		0x1d0
			MX8MM_IOMUXC_SD1_DATA1_USDHC1_DATA1		0x1d0
			MX8MM_IOMUXC_SD1_DATA2_USDHC1_DATA2		0x1d0
			MX8MM_IOMUXC_SD1_DATA3_USDHC1_DATA3		0x1d0
		>;
	};

	pinctrl_usdhc1_100mhz: usdhc1grp100mhz {
		fsl,pins = <
			MX8MM_IOMUXC_SD1_CLK_USDHC1_CLK			0x194
			MX8MM_IOMUXC_SD1_CMD_USDHC1_CMD			0x1d4
			MX8MM_IOMUXC_SD1_DATA0_USDHC1_DATA0		0x1d4
			MX8MM_IOMUXC_SD1_DATA1_USDHC1_DATA1		0x1d4
			MX8MM_IOMUXC_SD1_DATA2_USDHC1_DATA2		0x1d4
			MX8MM_IOMUXC_SD1_DATA3_USDHC1_DATA3		0x1d4
		>;
	};

	pinctrl_usdhc1_200mhz: usdhc1grp200mhz {
		fsl,pins = <
			MX8MM_IOMUXC_SD1_CLK_USDHC1_CLK			0x196
			MX8MM_IOMUXC_SD1_CMD_USDHC1_CMD			0x1d6
			MX8MM_IOMUXC_SD1_DATA0_USDHC1_DATA0		0x1d6
			MX8MM_IOMUXC_SD1_DATA1_USDHC1_DATA1		0x1d6
			MX8MM_IOMUXC_SD1_DATA2_USDHC1_DATA2		0x1d6
			MX8MM_IOMUXC_SD1_DATA3_USDHC1_DATA3		0x1d6
		>;
	};

	pinctrl_usdhc2: usdhc2grp {
		fsl,pins = <
			MX8MM_IOMUXC_SD2_CLK_USDHC2_CLK			0x016
			MX8MM_IOMUXC_SD2_CMD_USDHC2_CMD			0x016
			MX8MM_IOMUXC_SD2_DATA0_USDHC2_DATA0		0x1816
			MX8MM_IOMUXC_SD2_DATA1_USDHC2_DATA1		0x016
			MX8MM_IOMUXC_SD2_DATA2_USDHC2_DATA2		0x016
			MX8MM_IOMUXC_SD2_DATA3_USDHC2_DATA3		0x016
			MX8MM_IOMUXC_GPIO1_IO04_USDHC2_VSELECT		0x0d0
		>;
	};

	pinctrl_usdhc2_100mhz: usdhc2grp100mhz {
		fsl,pins = <
			MX8MM_IOMUXC_SD2_CLK_USDHC2_CLK			0x094
			MX8MM_IOMUXC_SD2_CMD_USDHC2_CMD			0x0d4
			MX8MM_IOMUXC_SD2_DATA0_USDHC2_DATA0		0x0d4
			MX8MM_IOMUXC_SD2_DATA1_USDHC2_DATA1		0x0d4
			MX8MM_IOMUXC_SD2_DATA2_USDHC2_DATA2		0x0d4
			MX8MM_IOMUXC_SD2_DATA3_USDHC2_DATA3		0x0d4
			MX8MM_IOMUXC_GPIO1_IO04_USDHC2_VSELECT		0x0d0
		>;
	};

	pinctrl_usdhc2_200mhz: usdhc2grp200mhz {
		fsl,pins = <
			MX8MM_IOMUXC_SD2_CLK_USDHC2_CLK			0x096
			MX8MM_IOMUXC_SD2_CMD_USDHC2_CMD			0x0d6
			MX8MM_IOMUXC_SD2_DATA0_USDHC2_DATA0		0x0d6
			MX8MM_IOMUXC_SD2_DATA1_USDHC2_DATA1		0x0d6
			MX8MM_IOMUXC_SD2_DATA2_USDHC2_DATA2		0x0d6
			MX8MM_IOMUXC_SD2_DATA3_USDHC2_DATA3		0x0d6
			MX8MM_IOMUXC_GPIO1_IO04_USDHC2_VSELECT		0x0d0
		>;
	};

	pinctrl_usdhc3: usdhc3grp {
		fsl,pins = <
			MX8MM_IOMUXC_NAND_WE_B_USDHC3_CLK		0x00000016
			MX8MM_IOMUXC_NAND_WP_B_USDHC3_CMD		0x00000016
			MX8MM_IOMUXC_NAND_DATA04_USDHC3_DATA0		0x00000016
			MX8MM_IOMUXC_NAND_DATA05_USDHC3_DATA1		0x00000016
			MX8MM_IOMUXC_NAND_DATA06_USDHC3_DATA2		0x00000016
			MX8MM_IOMUXC_NAND_DATA07_USDHC3_DATA3		0x00000016
			MX8MM_IOMUXC_NAND_RE_B_USDHC3_DATA4		0x00000016
			MX8MM_IOMUXC_NAND_CE2_B_USDHC3_DATA5		0x00000016
			MX8MM_IOMUXC_NAND_CE3_B_USDHC3_DATA6		0x00000016
			MX8MM_IOMUXC_NAND_CLE_USDHC3_DATA7		0x00000016
			MX8MM_IOMUXC_NAND_CE1_B_USDHC3_STROBE		0x00000016
		>;
	};

	pinctrl_usdhc3_100mhz: usdhc3grp100mhz {
		fsl,pins = <
			MX8MM_IOMUXC_NAND_WE_B_USDHC3_CLK		0x00000016
			MX8MM_IOMUXC_NAND_WP_B_USDHC3_CMD		0x00000016
			MX8MM_IOMUXC_NAND_DATA04_USDHC3_DATA0		0x00000016
			MX8MM_IOMUXC_NAND_DATA05_USDHC3_DATA1		0x00000016
			MX8MM_IOMUXC_NAND_DATA06_USDHC3_DATA2		0x00000016
			MX8MM_IOMUXC_NAND_DATA07_USDHC3_DATA3		0x00000016
			MX8MM_IOMUXC_NAND_RE_B_USDHC3_DATA4		0x00000016
			MX8MM_IOMUXC_NAND_CE2_B_USDHC3_DATA5		0x00000016
			MX8MM_IOMUXC_NAND_CE3_B_USDHC3_DATA6		0x00000016
			MX8MM_IOMUXC_NAND_CLE_USDHC3_DATA7		0x00000016
			MX8MM_IOMUXC_NAND_CE1_B_USDHC3_STROBE		0x00000016
		>;
	};

	pinctrl_usdhc3_200mhz: usdhc3grp200mhz {
		fsl,pins = <
			MX8MM_IOMUXC_NAND_WE_B_USDHC3_CLK		0x00000016
			MX8MM_IOMUXC_NAND_WP_B_USDHC3_CMD		0x00000016
			MX8MM_IOMUXC_NAND_DATA04_USDHC3_DATA0		0x00000016
			MX8MM_IOMUXC_NAND_DATA05_USDHC3_DATA1		0x00000016
			MX8MM_IOMUXC_NAND_DATA06_USDHC3_DATA2		0x00000016
			MX8MM_IOMUXC_NAND_DATA07_USDHC3_DATA3		0x00000016
			MX8MM_IOMUXC_NAND_RE_B_USDHC3_DATA4		0x00000016
			MX8MM_IOMUXC_NAND_CE2_B_USDHC3_DATA5		0x00000016
			MX8MM_IOMUXC_NAND_CE3_B_USDHC3_DATA6		0x00000016
			MX8MM_IOMUXC_NAND_CLE_USDHC3_DATA7		0x00000016
			MX8MM_IOMUXC_NAND_CE1_B_USDHC3_STROBE		0x00000016
		>;
	};

	pinctrl_wdog: wdoggrp {
		fsl,pins = <
			MX8MM_IOMUXC_GPIO1_IO02_WDOG1_WDOG_B		0x00000056
		>;
	};
};

&gpu {
	status = "okay";
	resets = <&src IMX8MQ_RESET_GPU_RESET>;
};
